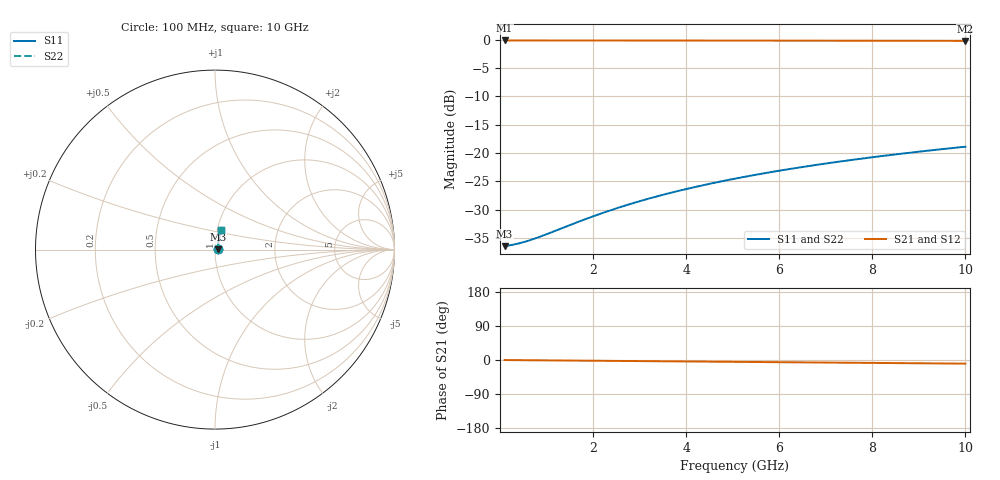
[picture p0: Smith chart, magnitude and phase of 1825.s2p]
# Hz S RI R 50.00
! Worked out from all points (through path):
!   100 points, 100 MHz to 10 GHz, reference 50 ohm
!   highest |S21| = -0.13 dB at 100 MHz (marker M1); lowest = -0.2 dB at 10 GHz (marker M2)
!   group delay of S21, straight-line fit = 2.67 ps
!   lowest |S11| = -36.4 dB at 100 MHz (marker M3), VSWR 1.03, Z = 51.5 + j0.115 ohm
!   |S11| at or under -10 dB: start of sweep to end of sweep
!   |S22| runs from -36.4 to -18.9 dB; largest |S21 - S12| = 0
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1e8  0.015 0.00111  0.985 -0.00166  0.985 -0.00166  0.015 0.00111
3e8  0.0152 0.00333  0.9848 -0.00497  0.9848 -0.00497  0.0152 0.00333
4e8  0.0153 0.00444  0.9847 -0.00662  0.9847 -0.00662  0.0153 0.00444
5e8  0.0153 0.00555  0.9846 -0.00828  0.9846 -0.00828  0.0153 0.00555
7e8  0.0155 0.00777  0.9845 -0.0116  0.9845 -0.0116  0.0155 0.00777
1e9  0.0157 0.0111  0.9843 -0.0166  0.9843 -0.0166  0.0157 0.0111
1.8e9  0.0163 0.02  0.9837 -0.0298  0.9837 -0.0298  0.0163 0.02
2.2e9  0.0166 0.0244  0.9833 -0.0364  0.9833 -0.0364  0.0166 0.0244
2.6e9  0.0171 0.0288  0.9828 -0.043  0.9828 -0.043  0.0171 0.0288
3e9  0.0175 0.0332  0.9823 -0.0496  0.9823 -0.0496  0.0175 0.0332
3.4e9  0.0181 0.0376  0.9817 -0.0562  0.9817 -0.0562  0.0181 0.0376
3.8e9  0.0186 0.042  0.9811 -0.0627  0.9811 -0.0627  0.0186 0.042
4.2e9  0.0193 0.0464  0.9804 -0.0693  0.9804 -0.0693  0.0193 0.0464
4.6e9  0.02 0.0507  0.9797 -0.0758  0.9797 -0.0758  0.02 0.0507
5.1e9  0.0209 0.0562  0.9787 -0.084  0.9787 -0.084  0.0209 0.0562
5.5e9  0.0218 0.0605  0.9778 -0.0906  0.9778 -0.0906  0.0218 0.0605
5.9e9  0.0226 0.0649  0.9768 -0.0971  0.9768 -0.0971  0.0226 0.0649
6.7e9  0.0246 0.0735  0.9747 -0.1101  0.9747 -0.1101  0.0246 0.0735
7.5e9  0.0267 0.082  0.9724 -0.123  0.9724 -0.123  0.0267 0.082
8.4e9  0.0294 0.0916  0.9695 -0.1374  0.9695 -0.1374  0.0294 0.0916
9.2e9  0.032 0.0999  0.9667 -0.1502  0.9667 -0.1502  0.032 0.0999
1e10  0.0349 0.1082  0.9636 -0.1629  0.9636 -0.1629  0.0349 0.1082
